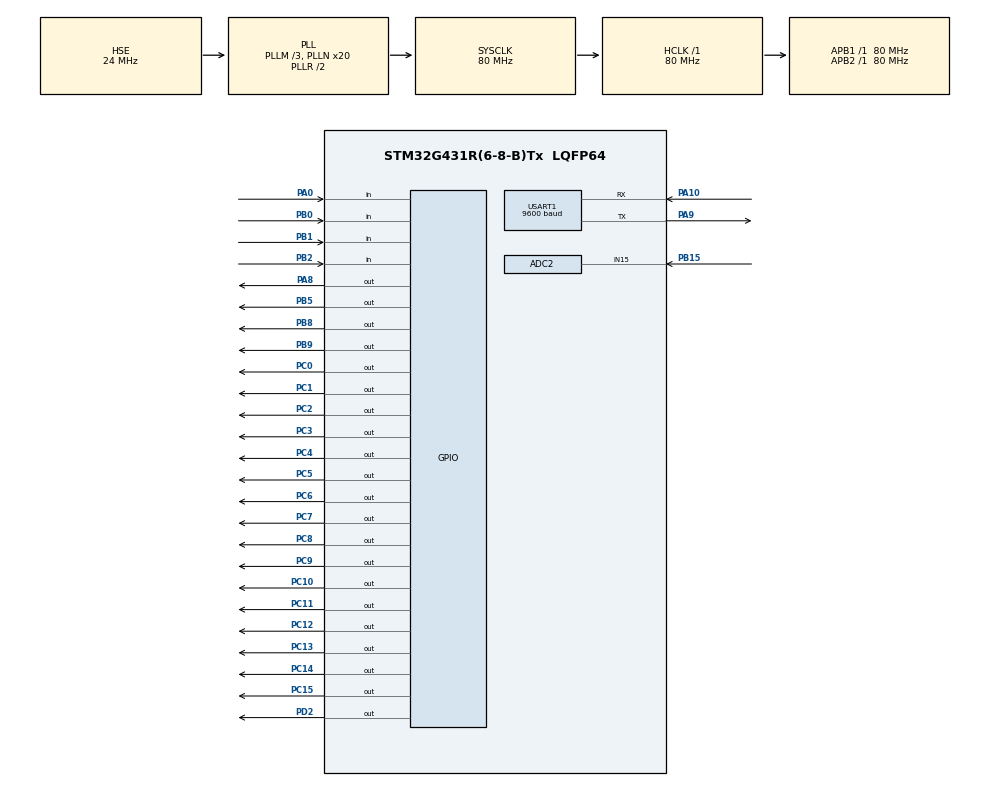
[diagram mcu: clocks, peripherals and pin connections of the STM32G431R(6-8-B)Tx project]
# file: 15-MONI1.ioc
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ADC2.Channel-0\#ChannelRegularConversion=ADC_CHANNEL_15
ADC2.NbrOfConversionFlag=1
ADC2.OffsetNumber-0\#ChannelRegularConversion=ADC_OFFSET_NONE
ADC2.Rank-0\#ChannelRegularConversion=1
ADC2.SamplingTime-0\#ChannelRegularConversion=ADC_SAMPLETIME_640CYCLES_5
Dma.Request0=USART1_RX
Dma.Request1=USART1_TX
Dma.USART1_RX.0.Direction=DMA_PERIPH_TO_MEMORY
Dma.USART1_RX.0.EventEnable=DISABLE
Dma.USART1_RX.0.Instance=DMA1_Channel1
Dma.USART1_RX.0.MemDataAlignment=DMA_MDATAALIGN_BYTE
Dma.USART1_RX.0.MemInc=DMA_MINC_ENABLE
Dma.USART1_RX.0.Mode=DMA_NORMAL
Dma.USART1_RX.0.PeriphDataAlignment=DMA_PDATAALIGN_BYTE
Dma.USART1_RX.0.PeriphInc=DMA_PINC_DISABLE
Dma.USART1_RX.0.Polarity=HAL_DMAMUX_REQ_GEN_RISING
Dma.USART1_RX.0.Priority=DMA_PRIORITY_LOW
Dma.USART1_RX.0.RequestNumber=1
Dma.USART1_RX.0.SignalID=NONE
Dma.USART1_RX.0.SyncEnable=DISABLE
Dma.USART1_RX.0.SyncPolarity=HAL_DMAMUX_SYNC_NO_EVENT
Dma.USART1_RX.0.SyncRequestNumber=1
Dma.USART1_RX.0.SyncSignalID=NONE
Dma.USART1_TX.1.Direction=DMA_MEMORY_TO_PERIPH
Dma.USART1_TX.1.EventEnable=DISABLE
Dma.USART1_TX.1.Instance=DMA1_Channel2
Dma.USART1_TX.1.MemDataAlignment=DMA_MDATAALIGN_BYTE
Dma.USART1_TX.1.MemInc=DMA_MINC_ENABLE
Dma.USART1_TX.1.Mode=DMA_NORMAL
Dma.USART1_TX.1.PeriphDataAlignment=DMA_PDATAALIGN_BYTE
Dma.USART1_TX.1.PeriphInc=DMA_PINC_DISABLE
Dma.USART1_TX.1.Polarity=HAL_DMAMUX_REQ_GEN_RISING
Dma.USART1_TX.1.Priority=DMA_PRIORITY_LOW
Dma.USART1_TX.1.RequestNumber=1
Dma.USART1_TX.1.SignalID=NONE
Dma.USART1_TX.1.SyncEnable=DISABLE
Dma.USART1_TX.1.SyncPolarity=HAL_DMAMUX_SYNC_NO_EVENT
Dma.USART1_TX.1.SyncRequestNumber=1
Dma.USART1_TX.1.SyncSignalID=NONE
Mcu.Family=STM32G4
Mcu.Name=STM32G431R(6-8-B)Tx
Mcu.Package=LQFP64
NVIC.DMA1_Channel1_IRQn=true\:0\:0\:false\:false\:true\:false\:true\:true
NVIC.DMA1_Channel2_IRQn=true\:0\:0\:false\:false\:true\:false\:true\:true
NVIC.PriorityGroup=NVIC_PRIORITYGROUP_4
NVIC.TIM6_DAC_IRQn=true\:0\:0\:false\:false\:true\:true\:true\:true
NVIC.TIM7_IRQn=true\:0\:0\:false\:false\:true\:true\:true\:true
NVIC.USART1_IRQn=true\:0\:0\:false\:false\:true\:true\:true\:true
PA0.GPIO_PuPd=GPIO_PULLUP
PA0.Signal=GPIO_Input
PA10.Mode=Asynchronous
PA10.Signal=USART1_RX
PA13.Mode=Serial_Wire
PA13.Signal=SYS_JTMS-SWDIO
PA14.Mode=Serial_Wire
PA14.Signal=SYS_JTCK-SWCLK
PA8.Signal=GPIO_Output
PA9.Mode=Asynchronous
PA9.Signal=USART1_TX
PB0.GPIO_PuPd=GPIO_PULLUP
PB0.Signal=GPIO_Input
PB1.GPIO_PuPd=GPIO_PULLUP
PB1.Signal=GPIO_Input
PB15.Mode=IN15-Single-Ended
PB15.Signal=ADC2_IN15
PB2.GPIO_PuPd=GPIO_PULLUP
PB2.Signal=GPIO_Input
PB5.Signal=GPIO_Output
PB8-BOOT0.Signal=GPIO_Output
PB9.Signal=GPIO_Output
PC0.Signal=GPIO_Output
PC1.Signal=GPIO_Output
PC10.Signal=GPIO_Output
PC11.Signal=GPIO_Output
PC12.Signal=GPIO_Output
PC13.Signal=GPIO_Output
PC14-OSC32_IN.Signal=GPIO_Output
PC15-OSC32_OUT.Signal=GPIO_Output
PC2.Signal=GPIO_Output
PC3.Signal=GPIO_Output
PC4.Signal=GPIO_Output
PC5.Signal=GPIO_Output
PC6.Signal=GPIO_Output
PC7.Signal=GPIO_Output
PC8.Signal=GPIO_Output
PC9.Signal=GPIO_Output
PD2.Signal=GPIO_Output
PF0-OSC_IN.Mode=HSE-External-Oscillator
PF0-OSC_IN.Signal=RCC_OSC_IN
PF1-OSC_OUT.Mode=HSE-External-Oscillator
PF1-OSC_OUT.Signal=RCC_OSC_OUT
ProjectManager.HeapSize=0x200
ProjectManager.StackSize=0x400
ProjectManager.TargetToolchain=MDK-ARM V5.32
RCC.ADC12Freq_Value=80000000
RCC.AHBFreq_Value=80000000
RCC.APB1Freq_Value=80000000
RCC.APB1TimFreq_Value=80000000
RCC.APB2Freq_Value=80000000
RCC.APB2TimFreq_Value=80000000
RCC.CortexFreq_Value=80000000
RCC.EXTERNAL_CLOCK_VALUE=12288000
RCC.HCLKFreq_Value=80000000
RCC.HSE_VALUE=24000000
RCC.HSI48_VALUE=48000000
RCC.HSI_VALUE=16000000
RCC.LSE_VALUE=32768
RCC.PLLM=RCC_PLLM_DIV3
RCC.PLLN=20
RCC.PLLSourceVirtual=RCC_PLLSOURCE_HSE
RCC.SYSCLKFreq_VALUE=80000000
RCC.SYSCLKSource=RCC_SYSCLKSOURCE_PLLCLK
RCC.USBFreq_Value=80000000
RCC.VCOOutputFreq_Value=160000000
TIM6.PeriodNoDither=10000-1
TIM6.Prescaler=8000-1
TIM7.PeriodNoDither=1000-1
TIM7.Prescaler=8000-1
USART1.BaudRate=9600
USART1.VirtualMode-Asynchronous=VM_ASYNC
VP_SYS_VS_DBSignals.Mode=DisableDeadBatterySignals
VP_TIM6_VS_ClockSourceINT.Mode=Enable_Timer
VP_TIM7_VS_ClockSourceINT.Mode=Enable_Timer
board=custom

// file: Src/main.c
/* USER CODE BEGIN Header */
/**
  ******************************************************************************
  * @file           : main.c
  * @brief          : Main program body
  ******************************************************************************
  * @attention
  *
  * Copyright (c) 2025 STMicroelectronics.
  * All rights reserved.
  *
  * This software is licensed under terms that can be found in the LICENSE file
  * in the root directory of this software component.
  * If no LICENSE file comes with this software, it is provided AS-IS.
  *
  ******************************************************************************
  */
/* USER CODE END Header */
#include "main.h"
#include "adc.h"
#include "dma.h"
#include "tim.h"
#include "usart.h"
#include "gpio.h"

/* USER CODE BEGIN Includes */
#include "lcd.h"
#include "stdio.h"
#include "string.h"
/* USER CODE END Includes */

/* USER CODE BEGIN PV */
uint8_t state;   //系统状态
char BUFF[20];   //缓冲区
float adc_value;  //得到的adc计数值
float ADC_value;   //得到的adc电压值
float Value;     //距离
char buf[3]={'S','R','L'};    //车辆的三个方向
char N;     //车辆的方向
uint8_t TIM;    //计时变量
uint8_t RX_BUF[20];    //串口数据缓冲区
uint8_t uart_flag;   //串口标志位
uint8_t RX_buff[20];    //串口缓冲区2
uint8_t Key;     //获取的按键值
uint8_t ucled;    //控制LED的变量
uint8_t uctim;    //定时器7控制led灯
uint8_t stand;       //LED灯1变量
uint8_t stand1;     //led灯2变量
/* USER CODE END PV */

void SystemClock_Config(void);

/* USER CODE BEGIN 0 */
//重定义函数
int fputc(int ch,FILE *f)
{
   HAL_UART_Transmit(&huart1,(uint8_t *)&ch,1,50);
	return ch;
}
//LED灯控制函数
void LED_dispaly(uint8_t led)
{
  HAL_GPIO_WritePin(GPIOD,GPIO_PIN_2,1);
	HAL_GPIO_WritePin(GPIOC,GPIO_PIN_8|GPIO_PIN_9|GPIO_PIN_10|GPIO_PIN_11|GPIO_PIN_12|GPIO_PIN_13
	|GPIO_PIN_14|GPIO_PIN_15,1);
	HAL_GPIO_WritePin(GPIOC,led<<8,0);
	HAL_GPIO_WritePin(GPIOD,GPIO_PIN_2,0);
}
//按键扫描
uint8_t KEY_scan()
{
	static uint8_t KEY=1;
    if(KEY==1&&(HAL_GPIO_ReadPin(GPIOB,GPIO_PIN_0)==0||HAL_GPIO_ReadPin(GPIOB,GPIO_PIN_1)==0||HAL_GPIO_ReadPin(GPIOB,GPIO_PIN_2)==0||HAL_GPIO_ReadPin(GPIOA,GPIO_PIN_0)==0))
		{
			KEY=0;
			HAL_Delay(10);
			if(HAL_GPIO_ReadPin(GPIOB,GPIO_PIN_0)==0)
			{
        return 1;
			}
			if(HAL_GPIO_ReadPin(GPIOB,GPIO_PIN_1)==0)
			{
        return 2;
			}
			if(HAL_GPIO_ReadPin(GPIOB,GPIO_PIN_2)==0)
			{
        return 3;
			}
			if(HAL_GPIO_ReadPin(GPIOA,GPIO_PIN_0)==0)
			{
        return 4;
			}
		}
    if(KEY==0&&HAL_GPIO_ReadPin(GPIOB,GPIO_PIN_0)==1&&HAL_GPIO_ReadPin(GPIOB,GPIO_PIN_1)==1&&HAL_GPIO_ReadPin(GPIOB,GPIO_PIN_2)==1&&HAL_GPIO_ReadPin(GPIOA,GPIO_PIN_0)==1)
		{
			KEY=1;
		}
		return 0;
}
//LCD显示函数
void LCD_show()
{
  switch(state)
	{
			case 0:
				LCD_DisplayStringLine(Line1,(uint8_t*)"        DATA     ");
			  sprintf(BUFF,"       N:%c",N);
			  LCD_DisplayStringLine(Line3,(uint8_t *)BUFF);
			  sprintf(BUFF,"       D:%.1f ",Value);
			  LCD_DisplayStringLine(Line4,(uint8_t *)BUFF);
				break;
				case 1:
				LCD_DisplayStringLine(Line1,(uint8_t*)"                         ");
				LCD_DisplayStringLine(Line3,(uint8_t *)"                        ");
			  sprintf(BUFF,"        WARN              ");
			  LCD_DisplayStringLine(Line4,(uint8_t *)BUFF);
			break;
				default:
					break;
	}
}
//ADC处理函数
void ADC_PRO()
{
  HAL_ADC_Start(&hadc2);
	adc_value=HAL_ADC_GetValue(&hadc2);
	ADC_value=adc_value*3.3/4096;
	Value=ADC_value*100;
	if(ADC_value>3.0)
	{
	Value=300;
	}
}
//按键处理函数
void KEY_deal_pro(uint8_t key)
{
	if(state==1)
		{
   if(key==1)    //按键1按下的话
	 {
			 state=0;
		   N=buf[0];    //方向为直行
		   printf("Success\r\n");
	 }
  }
		if(state==0)
		{
	 if(N=='L')     //接收到L字符的话
	 {
	   HAL_TIM_Base_Start_IT(&htim6);
	    if(TIM>=0&&TIM<=5)
			{
				stand=1;
				if(key==3)
				{
				stand=0;
				N=buf[0];
				TIM=0;
				HAL_TIM_Base_Stop_IT(&htim6);
				printf("Success\r\n");
				}
			}
			else
			{
			stand=0;
			state=1;
			TIM=0;
			HAL_TIM_Base_Stop_IT(&htim6);
			printf("Warn\r\n");
			}
	 }
	 else if(N=='R')     //接收到L字符的话
	 {
	   HAL_TIM_Base_Start_IT(&htim6);
	    if(TIM>=0&&TIM<=5)
			{
				stand1=1;
				if(key==4)
				{
			  stand1=0;
				N=buf[0];
				TIM=0;
				HAL_TIM_Base_Stop_IT(&htim6);
				printf("Success\r\n");
				}
			}
			else
			{
			stand1=0;
			state=1;
			TIM=0;
			HAL_TIM_Base_Stop_IT(&htim6);
			printf("Warn\r\n");
			}
	 }
	else if(N!='R'||N!='L')
	 {
	    if(key==3||key==4)
			{
			printf("Warn\r\n");
			}
	 }
 }
 }
//串口数据处理函数
void uart_deal_pro()
{
	if(uart_flag==1)
	{
		if(state==0)
		{
		uart_flag=0;
		if(RX_BUF[0]=='L'&&strlen((char *)RX_BUF)==1)
		{
			N=buf[2];
		}
		if(RX_BUF[0]=='R'&&strlen((char *)RX_BUF)==1)
		{
			N=buf[1];
		}
		if((RX_BUF[0]!='R'||RX_BUF[0]!='L')&&strlen((char *)RX_BUF)>1)
		{
			printf("ERROR\r\n");
		}
	 }
		if(state==1)
		{
		  if(uart_flag==1)
			{
				uart_flag=0;
			  printf("WAIT\r\n");
			}
		}
		memset(RX_BUF,0,20);
	}
}
//led处理函数
void LED_pro()
{
  if(state==1)
	{
	  ucled|=0x80;
	}
	LED_dispaly(ucled);
}
/* USER CODE END 0 */

int main(void)
{

  /* MCU Configuration--------------------------------------------------------*/

  /* Reset of all peripherals, Initializes the Flash interface and the Systick. */
  HAL_Init();

  /* Configure the system clock */
  SystemClock_Config();

  /* Initialize all configured peripherals */
  MX_GPIO_Init();
  MX_DMA_Init();
  MX_ADC2_Init();
  MX_TIM6_Init();
  MX_USART1_UART_Init();
  MX_TIM7_Init();
  /* USER CODE BEGIN 2 */
	LCD_Init();
	LCD_Clear(Black);
	LCD_SetBackColor(Black);
	LCD_SetTextColor(White);
	HAL_ADCEx_Calibration_Start(&hadc2,ADC_SINGLE_ENDED);     //校准adc
  HAL_UARTEx_ReceiveToIdle_DMA(&huart1,RX_BUF,20);
  HAL_TIM_Base_Start_IT(&htim7);
	N=buf[0];
  /* USER CODE END 2 */

  /* Infinite loop */
  /* USER CODE BEGIN WHILE */
  while (1)
  {
		LCD_show();
		ADC_PRO();
		Key=KEY_scan();
		KEY_deal_pro(Key);
		uart_deal_pro();
		LED_pro();
    /* USER CODE END WHILE */

  }
}

void SystemClock_Config(void)
{
  RCC_OscInitTypeDef RCC_OscInitStruct = {0};
  RCC_ClkInitTypeDef RCC_ClkInitStruct = {0};

  /** Configure the main internal regulator output voltage
  */
  HAL_PWREx_ControlVoltageScaling(PWR_REGULATOR_VOLTAGE_SCALE1);

  /** Initializes the RCC Oscillators according to the specified parameters
  * in the RCC_OscInitTypeDef structure.
  */
  RCC_OscInitStruct.OscillatorType = RCC_OSCILLATORTYPE_HSE;
  RCC_OscInitStruct.HSEState = RCC_HSE_ON;
  RCC_OscInitStruct.PLL.PLLState = RCC_PLL_ON;
  RCC_OscInitStruct.PLL.PLLSource = RCC_PLLSOURCE_HSE;
  RCC_OscInitStruct.PLL.PLLM = RCC_PLLM_DIV3;
  RCC_OscInitStruct.PLL.PLLN = 20;
  RCC_OscInitStruct.PLL.PLLP = RCC_PLLP_DIV2;
  RCC_OscInitStruct.PLL.PLLQ = RCC_PLLQ_DIV2;
  RCC_OscInitStruct.PLL.PLLR = RCC_PLLR_DIV2;
  if (HAL_RCC_OscConfig(&RCC_OscInitStruct) != HAL_OK)
  {
    Error_Handler();
  }

  /** Initializes the CPU, AHB and APB buses clocks
  */
  RCC_ClkInitStruct.ClockType = RCC_CLOCKTYPE_HCLK|RCC_CLOCKTYPE_SYSCLK
                              |RCC_CLOCKTYPE_PCLK1|RCC_CLOCKTYPE_PCLK2;
  RCC_ClkInitStruct.SYSCLKSource = RCC_SYSCLKSOURCE_PLLCLK;
  RCC_ClkInitStruct.AHBCLKDivider = RCC_SYSCLK_DIV1;
  RCC_ClkInitStruct.APB1CLKDivider = RCC_HCLK_DIV1;
  RCC_ClkInitStruct.APB2CLKDivider = RCC_HCLK_DIV1;

  if (HAL_RCC_ClockConfig(&RCC_ClkInitStruct, FLASH_LATENCY_2) != HAL_OK)
  {
    Error_Handler();
  }
}

/* USER CODE BEGIN 4 */
//定时器中断回调函数
void HAL_TIM_PeriodElapsedCallback(TIM_HandleTypeDef *htim)
{
  if(htim->Instance==TIM6)
	{
		TIM++;
	}
	if(htim->Instance==TIM7)
	{
		if(stand==1)
		{
		uctim++;
			if(uctim%2==0)
			{
			  ucled|=0x01;
			}
			else
			{
		  ucled&=~0x01;
			}
		}
		else
		{
		ucled&=~0x01;
		}
		if(stand1==1)
		{
		uctim++;
			if(uctim%2==0)
			{
			  ucled|=0x02;
			}
			else
			{
		  ucled&=~0x02;
			}
		}
		else
		{
		ucled&=~0x02;
		}
	}
}
//串口回调函数
void HAL_UARTEx_RxEventCallback(UART_HandleTypeDef *huart, uint16_t Size)
{
  uart_flag=1;
  HAL_UARTEx_ReceiveToIdle_DMA(&huart1,RX_BUF,20);
}
/* USER CODE END 4 */

void Error_Handler(void)
{
  __disable_irq();
  while (1)
  {
  }
}
